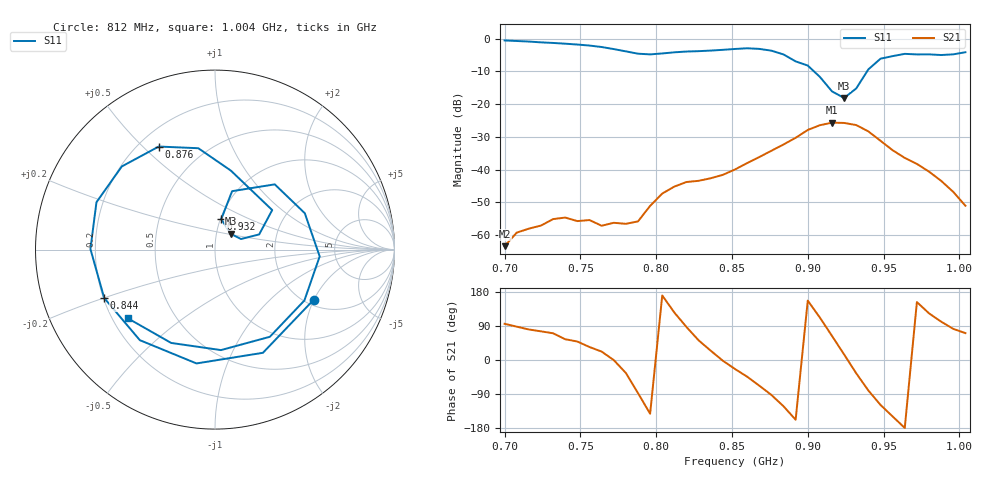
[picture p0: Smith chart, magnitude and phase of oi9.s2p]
# Hz S RI R 50
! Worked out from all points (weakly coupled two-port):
!   39 points, 700 MHz to 1.004 GHz, reference 50 ohm
!   highest |S21| = -25.66 dB at 916 MHz (marker M1); lowest = -63.4 dB at 700 MHz (marker M2)
!   lowest |S11| = -18.1 dB at 924 MHz (marker M3), VSWR 1.28, Z = 58.6 + j10.5 ohm
!   |S11| at or under -10 dB: 904.1 MHz to 939.2 MHz (35.08 MHz wide, 3.81 % of centre)
!   S12 and S22 are empty: the file has one direction only
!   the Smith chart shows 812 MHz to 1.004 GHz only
!   S11 on the Smith chart (normalised r, x): 812 MHz: 2.21, -1.99; 844 MHz: 0.20, -0.20; 876 MHz: 0.28, +0.56; 932 MHz: 1.01, +0.35; 1.004 GHz: 0.26, -0.32
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7e8  0.7527 0.5562  -6.54e-05 0.000675  0 0  0 0
7.24e8  0.8412 -0.2418  0.000348 0.00136  0 0  0 0
7.4e8  0.4584 -0.6984  0.00107 0.00152  0 0  0 0
7.56e8  -0.1886 -0.7591  0.0014 0.000957  0 0  0 0
7.72e8  -0.6595 -0.2067  0.00154 -3.62e-06  0 0  0 0
7.8e8  -0.5967 0.2252  0.00123 -0.000838  0 0  0 0
7.96e8  0.236 0.523  -0.00219 -0.00173  0 0  0 0
8.04e8  0.5666 0.1743  -0.00425 0.000725  0 0  0 0
8.12e8  0.5503 -0.279  -0.00317 0.0045  0 0  0 0
8.28e8  -0.1032 -0.6342  0.00417 0.0053  0 0  0 0
8.44e8  -0.6174 -0.2696  0.00832 -0.000285  0 0  0 0
8.52e8  -0.6941 0.00315  0.0092 -0.00405  0 0  0 0
8.76e8  -0.3134 0.5741  -0.000744 -0.0194  0 0  0 0
9e8  0.3188 0.2203  -0.037 0.0159  0 0  0 0
9.08e8  0.2461 0.0846  -0.0177 0.0442  0 0  0 0
9.16e8  0.1448 0.0588  0.0233 0.0466  0 0  0 0
9.24e8  0.0875 0.0879  0.0499 0.0129  0 0  0 0
9.32e8  0.035 0.17  0.0391 -0.0276  0 0  0 0
9.48e8  0.333 0.3635  -0.0132 -0.0242  0 0  0 0
9.56e8  0.5004 0.2026  -0.0169 -0.0102  0 0  0 0
9.8e8  0.3057 -0.4857  -0.00509 0.0078  0 0  0 0
1.004e9  -0.4864 -0.3823  0.000918 0.00266  0 0  0 0
